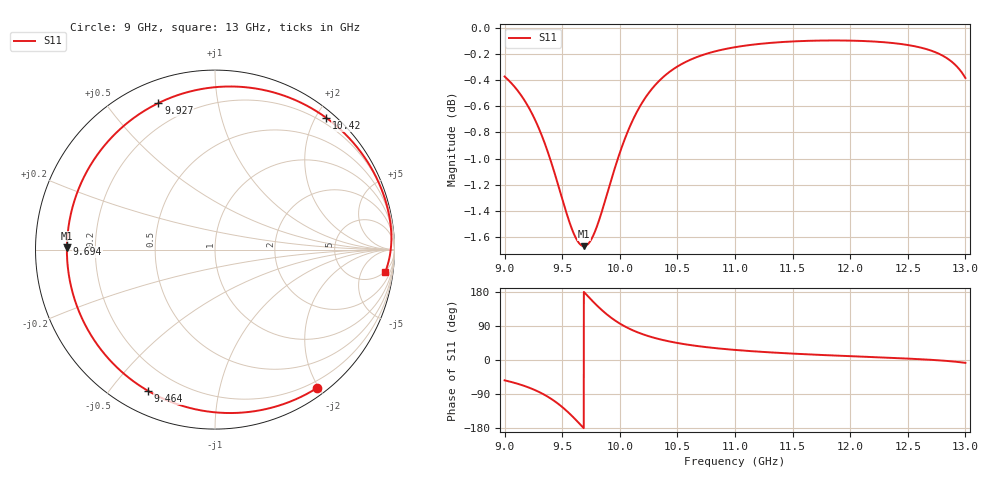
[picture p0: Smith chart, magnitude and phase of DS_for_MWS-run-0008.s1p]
! TOUCHSTONE file generated by CST DESIGN STUDIO
! Date and time: Tue Feb  4 18:13:30 2025
! Project name: C:\Work\MatlabApps\UnitCellOptimizationMatlab\CST\unitcell.cst
! Tree item: Tasks\Sweep1\SPara1\S-Parameters
! Header version: 2024
! Port assignment regex: !\s*Touchstone port\s*([0-9]+)\s*=\s*(CST MWS port|CST DES external port|CST DES block port)\s*(.+)\s* \(\"(.*)\"\)(\s*mode\s*([0-9]+))?.*
! Touchstone port assignment:
! Touchstone port 1 = CST DES external port 1 ("")
# GHz S MA R 50
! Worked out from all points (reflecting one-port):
!   4001 points, 9 GHz to 13 GHz, reference 50 ohm
!   lowest |S11| = -1.7 dB at 9.689 GHz (marker M1), VSWR 10.45, Z = 4.79 + j0.277 ohm
!   phase of S11 starts at -54 deg and turns -314 deg over the sweep
!   S11 on the Smith chart (normalised r, x): 9 GHz: 0.11, -1.97; 9.464 GHz: 0.10, -0.63; 9.694 GHz: 0.10, +0.02; 9.927 GHz: 0.10, +0.68; 10.42 GHz: 0.11, +2.15; 13 GHz: 5, -14
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9  0.9579 -53.6
9.121  0.9452 -63.4
9.238  0.9272 -76.1
9.364  0.8994 -94.9
9.464  0.8711 -115.3
9.5  0.8604 -124.0
9.552  0.8457 -138.0
9.605  0.8335 -153.7
9.648  0.8273 -167.3
9.689  0.8253 179.4
9.694  0.8253 177.7
9.753  0.8303 158.7
9.818  0.8438 139.0
9.872  0.8588 124.3
9.927  0.8752 111.1
10  0.8958 96.2
10.095  0.9184 80.8
10.192  0.9359 68.7
10.297  0.9497 58.7
10.416  0.9607 49.9
10.5  0.9664 44.9
10.719  0.9762 35.1
11  0.9829 26.6
11.5  0.9879 16.9
12  0.9886 10.1
12.5  0.9848 3.7
12.791  0.9763 -1.3
13  0.9567 -7.6
